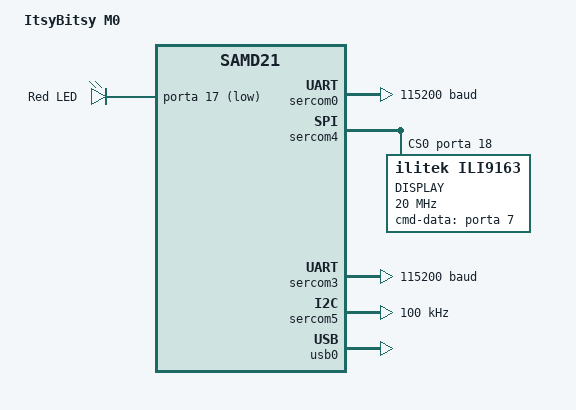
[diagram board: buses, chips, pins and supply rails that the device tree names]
/*
 * Copyright (c) 2018 Bryan O'Donoghue
 *
 * SPDX-License-Identifier: Apache-2.0
 */

/dts-v1/;
#include <atmel/samd21.dtsi>

/ {
	model = "ItsyBitsy M0";
	compatible = "atsamd21,itsybitsy_m0", "atmel,samd21j18a", "atmel,samd21";

	chosen {
		zephyr,console = &sercom3;
		zephyr,shell-uart = &sercom3;
		zephyr,sram = &sram0;
		zephyr,flash = &flash0;
	};

	/* These aliases are provided for compatibility with samples */
	aliases {
		led0 = &led0;
		i2c-0 = &sercom5;
                spi-0 = &sercom4;
	};

	leds {
		compatible = "gpio-leds";
		led0: led_0 {
			gpios = <&porta 17 GPIO_ACTIVE_LOW>;
			label = "Red LED";
		};
	};
    

};

&cpu0 {
	clock-frequency = <48000000>;
};


&sercom0 {
	status = "okay";
	compatible = "atmel,sam0-uart";
	current-speed = <115200>;
	rxpo = <3>;
	txpo = <2>;
};




&sercom4 {
	status = "okay";
	compatible = "atmel,sam0-spi";
	dipo = <0>;
	dopo = <1>;
	#address-cells = <1>;
	#size-cells = <0>;
        cs-gpios=<&porta 18 GPIO_ACTIVE_HIGH>;
        ili9163@0 {
            status = "okay";
            label = "DISPLAY";
            spi-max-frequency = <20000000>;
            reg = <0>;
            compatible = "ilitek,ili9163";
            cmd-data-gpios=<&porta 7 GPIO_ACTIVE_HIGH>;
            
        };

};

&sercom3 {
	status = "okay";
	compatible = "atmel,sam0-uart";
	current-speed = <115200>;
	rxpo = <1>;
	txpo = <0>;
};


&sercom5 {
	status = "okay";
	compatible = "atmel,sam0-i2c";
	clock-frequency = <I2C_BITRATE_STANDARD>;
	#address-cells = <1>;
	#size-cells = <0>;
};




&usb0 {
	status = "okay";
};


